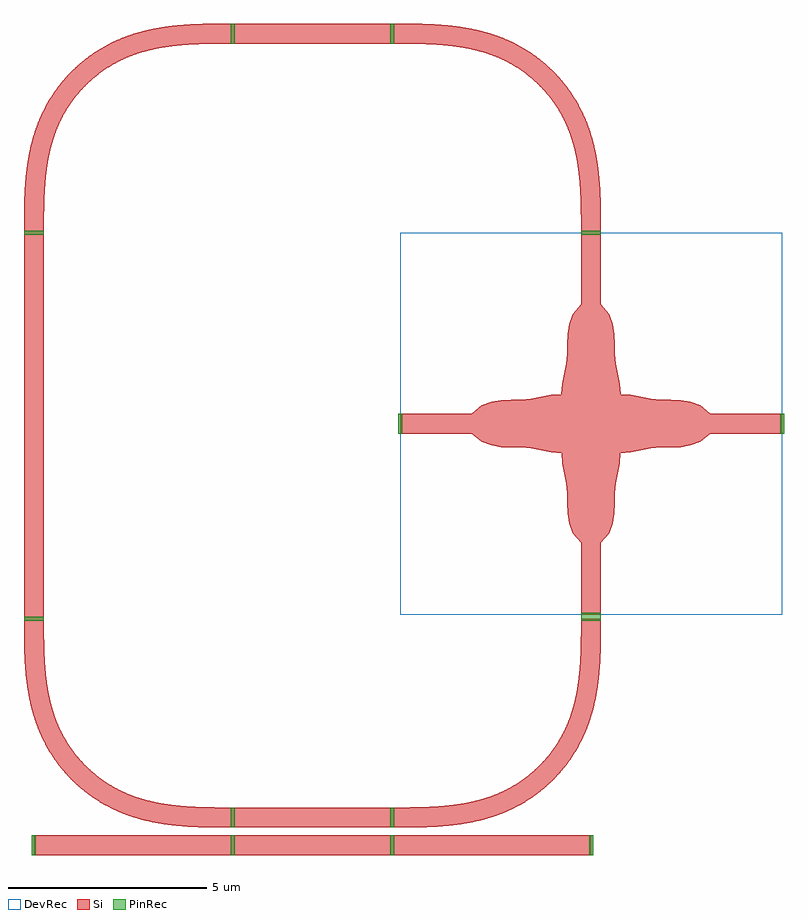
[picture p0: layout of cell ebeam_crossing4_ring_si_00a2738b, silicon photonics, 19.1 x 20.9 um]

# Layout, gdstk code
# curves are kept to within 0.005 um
from math import pi, radians
import gdstk
lib = gdstk.Library(unit=1e-6, precision=1e-09)
def R(c, l, rs):  # rectangles x0, y0, x1, y1
    for r in rs: c.add(gdstk.rectangle(r[:2], r[2:], *l))
def P(c, l, *ps):  # polygons
    for p in ps: c.add(gdstk.Polygon(p, *l))
Si = (1, 0)
PinRec = (1, 10)
DevRec = (68, 0)

bend_euler_6a0699a0 = lib.new_cell('bend_euler_6a0699a0')
P(bend_euler_6a0699a0, Si, [(0,-0.25),(0.824,-0.241),(1.398,-0.205),(1.686,-0.171),(1.926,-0.132),(2.357,-0.033),(2.617,0.048),(2.826,0.128),(3.078,0.243),(3.255,0.338),(3.469,0.47),(3.674,0.616),(3.85,0.759),(4.017,0.912),(4.208,1.112),(4.353,1.286),(4.502,1.489),(4.611,1.658),(4.722,1.855),(4.822,2.059),(4.918,2.29),(4.991,2.501),(5.052,2.714),(5.123,3.026),(5.171,3.314),(5.205,3.602),(5.241,4.176),(5.25,5),(4.75,5),(4.744,4.284),(4.719,3.785),(4.693,3.517),(4.652,3.23),(4.605,2.991),(4.557,2.798),(4.48,2.548),(4.402,2.345),(4.32,2.167),(4.228,1.993),(4.125,1.825),(4.013,1.664),(3.891,1.51),(3.73,1.332),(3.556,1.166),(3.405,1.04),(3.229,0.911),(3.045,0.794),(2.715,0.624),(2.513,0.542),(2.307,0.473),(2.095,0.415),(1.858,0.364),(1.594,0.321),(1.372,0.295),(1.102,0.273),(0.784,0.258),(0,0.25)])
R(bend_euler_6a0699a0, PinRec, [(-0.05,-0.25,0.05,0.25), (4.75,4.95,5.25,5.05)])
P(bend_euler_6a0699a0, DevRec, [(0,-0.25),(0.824,-0.241),(1.398,-0.205),(1.686,-0.171),(1.926,-0.132),(2.357,-0.033),(2.617,0.048),(2.826,0.128),(3.078,0.243),(3.255,0.338),(3.469,0.47),(3.674,0.616),(3.85,0.759),(4.017,0.912),(4.208,1.112),(4.353,1.286),(4.502,1.489),(4.611,1.658),(4.722,1.855),(4.822,2.059),(4.918,2.29),(4.991,2.501),(5.052,2.714),(5.123,3.026),(5.171,3.314),(5.205,3.602),(5.241,4.176),(5.25,5),(4.75,5),(4.744,4.284),(4.719,3.785),(4.693,3.517),(4.652,3.23),(4.605,2.991),(4.557,2.798),(4.48,2.548),(4.402,2.345),(4.32,2.167),(4.228,1.993),(4.125,1.825),(4.013,1.664),(3.891,1.51),(3.73,1.332),(3.556,1.166),(3.405,1.04),(3.229,0.911),(3.045,0.794),(2.715,0.624),(2.513,0.542),(2.307,0.473),(2.095,0.415),(1.858,0.364),(1.594,0.321),(1.372,0.295),(1.102,0.273),(0.784,0.258),(0,0.25)])
bend_euler_6a0699a0.add(gdstk.FlexPath([(0.05,0),(-0.05,0)], 0.5, ends="flush", simple_path=True, layer=1, datatype=10))  # PinRec
bend_euler_6a0699a0.add(gdstk.FlexPath([(5,4.95),(5,5.05)], 0.5, ends="flush", simple_path=True, layer=1, datatype=10))  # PinRec
bend_euler_6a0699a0.add(gdstk.Label('o1', (0,0), layer=1, texttype=10))
bend_euler_6a0699a0.add(gdstk.Label('o2', (5,5), layer=1, texttype=10))

straight_c544e65c = lib.new_cell('straight_c544e65c')
R(straight_c544e65c, Si, [(0,-0.25,5,0.25)])
R(straight_c544e65c, PinRec, [(-0.05,-0.25,0.05,0.25), (4.95,-0.25,5.05,0.25)])
R(straight_c544e65c, DevRec, [(0,-0.25,5,0.25)])
straight_c544e65c.add(gdstk.FlexPath([(0.05,0),(-0.05,0)], 0.5, ends="flush", simple_path=True, layer=1, datatype=10))  # PinRec
straight_c544e65c.add(gdstk.FlexPath([(4.95,0),(5.05,0)], 0.5, ends="flush", simple_path=True, layer=1, datatype=10))  # PinRec
straight_c544e65c.add(gdstk.Label('o1', (0,0), layer=1, texttype=10))
straight_c544e65c.add(gdstk.Label('o2', (5,0), layer=1, texttype=10))

coupler90_6a0699a0 = lib.new_cell('coupler90_6a0699a0')
coupler90_6a0699a0.add(gdstk.Reference(bend_euler_6a0699a0, (0,0.7)))
coupler90_6a0699a0.add(gdstk.Reference(straight_c544e65c, (0,0)))

straight_320e1e0c = lib.new_cell('straight_320e1e0c')
R(straight_320e1e0c, Si, [(0,-0.25,4,0.25)])
R(straight_320e1e0c, PinRec, [(-0.05,-0.25,0.05,0.25), (3.95,-0.25,4.05,0.25)])
R(straight_320e1e0c, DevRec, [(0,-0.25,4,0.25)])
straight_320e1e0c.add(gdstk.FlexPath([(0.05,0),(-0.05,0)], 0.5, ends="flush", simple_path=True, layer=1, datatype=10))  # PinRec
straight_320e1e0c.add(gdstk.FlexPath([(3.95,0),(4.05,0)], 0.5, ends="flush", simple_path=True, layer=1, datatype=10))  # PinRec
straight_320e1e0c.add(gdstk.Label('o1', (0,0), layer=1, texttype=10))
straight_320e1e0c.add(gdstk.Label('o2', (4,0), layer=1, texttype=10))

coupler_straight_1d6f939 = lib.new_cell('coupler_straight_1d6f9399')
coupler_straight_1d6f939.add(gdstk.Reference(straight_320e1e0c, (0,0.7)))
coupler_straight_1d6f939.add(gdstk.Reference(straight_320e1e0c, (0,0)))

coupler_ring_6edb3c31 = lib.new_cell('coupler_ring_6edb3c31')
coupler_ring_6edb3c31.add(gdstk.Reference(coupler90_6a0699a0, (-4,0), rotation=pi, x_reflection=True))
coupler_ring_6edb3c31.add(gdstk.Reference(coupler90_6a0699a0, (0,0)))
coupler_ring_6edb3c31.add(gdstk.Reference(coupler_straight_1d6f939, (-4,0)))

straight_27ff6d8f = lib.new_cell('straight_27ff6d8f')
R(straight_27ff6d8f, Si, [(0,-0.25,9.7,0.25)])
R(straight_27ff6d8f, PinRec, [(-0.05,-0.25,0.05,0.25), (9.65,-0.25,9.75,0.25)])
R(straight_27ff6d8f, DevRec, [(0,-0.25,9.7,0.25)])
straight_27ff6d8f.add(gdstk.FlexPath([(0.05,0),(-0.05,0)], 0.5, ends="flush", simple_path=True, layer=1, datatype=10))  # PinRec
straight_27ff6d8f.add(gdstk.FlexPath([(9.65,0),(9.75,0)], 0.5, ends="flush", simple_path=True, layer=1, datatype=10))  # PinRec
straight_27ff6d8f.add(gdstk.Label('o1', (0,0), layer=1, texttype=10))
straight_27ff6d8f.add(gdstk.Label('o2', (9.7,0), layer=1, texttype=10))

ebeam_crossing4 = lib.new_cell('ebeam_crossing4')
P(ebeam_crossing4, Si, [(-0.25,-4.8),(-0.25,-3),(-0.46,-2.75),(-0.55,-2.5),(-0.59,-2.25),(-0.6,-1.75),(-0.62,-1.5),(-0.72,-1),(-0.75,-0.74),(-1,-0.72),(-1.5,-0.62),(-1.75,-0.6),(-2.25,-0.59),(-2.5,-0.55),(-2.75,-0.46),(-3,-0.25),(-4.8,-0.25),(-4.8,0.25),(-3,0.25),(-2.75,0.46),(-2.5,0.55),(-2.25,0.59),(-1.75,0.6),(-1.5,0.62),(-1,0.72),(-0.75,0.74),(-0.72,1),(-0.62,1.5),(-0.6,1.75),(-0.59,2.25),(-0.55,2.5),(-0.46,2.75),(-0.25,3),(-0.25,4.8),(0.25,4.8),(0.25,3),(0.46,2.75),(0.55,2.5),(0.59,2.25),(0.6,1.75),(0.62,1.5),(0.72,1),(0.74,0.75),(1,0.72),(1.5,0.62),(1.75,0.6),(2.25,0.59),(2.5,0.55),(2.75,0.46),(3,0.25),(4.8,0.25),(4.8,-0.25),(3,-0.25),(2.75,-0.46),(2.5,-0.55),(2.25,-0.59),(1.75,-0.6),(1.5,-0.62),(1,-0.72),(0.74,-0.75),(0.72,-1),(0.62,-1.5),(0.6,-1.75),(0.59,-2.25),(0.55,-2.5),(0.46,-2.75),(0.25,-3),(0.25,-4.8)])
R(ebeam_crossing4, DevRec, [(-4.8,-4.8,4.8,4.8)])
ebeam_crossing4.add(gdstk.FlexPath([(-4.75,0),(-4.85,0)], 0.5, ends="flush", simple_path=True, layer=1, datatype=10))  # PinRec
ebeam_crossing4.add(gdstk.FlexPath([(4.75,0),(4.85,0)], 0.5, ends="flush", simple_path=True, layer=1, datatype=10))  # PinRec
ebeam_crossing4.add(gdstk.FlexPath([(0,-4.75),(0,-4.85)], 0.5, ends="flush", simple_path=True, layer=1, datatype=10))  # PinRec
ebeam_crossing4.add(gdstk.FlexPath([(0,4.75),(0,4.85)], 0.5, ends="flush", simple_path=True, layer=1, datatype=10))  # PinRec
ebeam_crossing4.add(gdstk.Label('Source: Wei Shi', (-4,-3), layer=10, texttype=0))
ebeam_crossing4.add(gdstk.Label('opt4', (4.8,0), layer=1, texttype=10))
ebeam_crossing4.add(gdstk.Label('opt2', (0,4.8), layer=1, texttype=10))
ebeam_crossing4.add(gdstk.Label('opt', (-4.8,0), layer=1, texttype=10))
ebeam_crossing4.add(gdstk.Label('opt3', (0,-4.8), layer=1, texttype=10))
ebeam_crossing4.add(gdstk.Label('Component=ebeam_crossing4', (-4,-1), layer=68, texttype=0))
ebeam_crossing4.add(gdstk.Label('Lumerical_INTERCONNECT_library=Design kits/ebeam', (-4,-4), layer=68, texttype=0))

straight_9db0a847 = lib.new_cell('straight_9db0a847')
R(straight_9db0a847, Si, [(0,-0.25,4,0.25)])
R(straight_9db0a847, PinRec, [(-0.05,-0.25,0.05,0.25), (3.95,-0.25,4.05,0.25)])
R(straight_9db0a847, DevRec, [(0,-0.25,4,0.25)])
straight_9db0a847.add(gdstk.FlexPath([(0.05,0),(-0.05,0)], 0.5, ends="flush", simple_path=True, layer=1, datatype=10))  # PinRec
straight_9db0a847.add(gdstk.FlexPath([(3.95,0),(4.05,0)], 0.5, ends="flush", simple_path=True, layer=1, datatype=10))  # PinRec
straight_9db0a847.add(gdstk.Label('o1', (0,0), layer=1, texttype=10))
straight_9db0a847.add(gdstk.Label('o2', (4,0), layer=1, texttype=10))

ebeam_crossing4_ring_si_ = lib.new_cell('ebeam_crossing4_ring_si_00a2738b')
ebeam_crossing4_ring_si_.add(gdstk.Reference(coupler_ring_6edb3c31, (0,0)))
ebeam_crossing4_ring_si_.add(gdstk.Reference(straight_27ff6d8f, (-9,15.4), rotation=3*pi/2))
ebeam_crossing4_ring_si_.add(gdstk.Reference(ebeam_crossing4, (5,10.6), rotation=pi/2))
ebeam_crossing4_ring_si_.add(gdstk.Reference(bend_euler_6a0699a0, (-4,20.4), rotation=pi))
ebeam_crossing4_ring_si_.add(gdstk.Reference(bend_euler_6a0699a0, (5,15.4), rotation=pi/2))
ebeam_crossing4_ring_si_.add(gdstk.Reference(straight_9db0a847, (-4,20.4)))

lib.write_gds('ebeam_crossing4_ring_si_00a2738b.gds')
